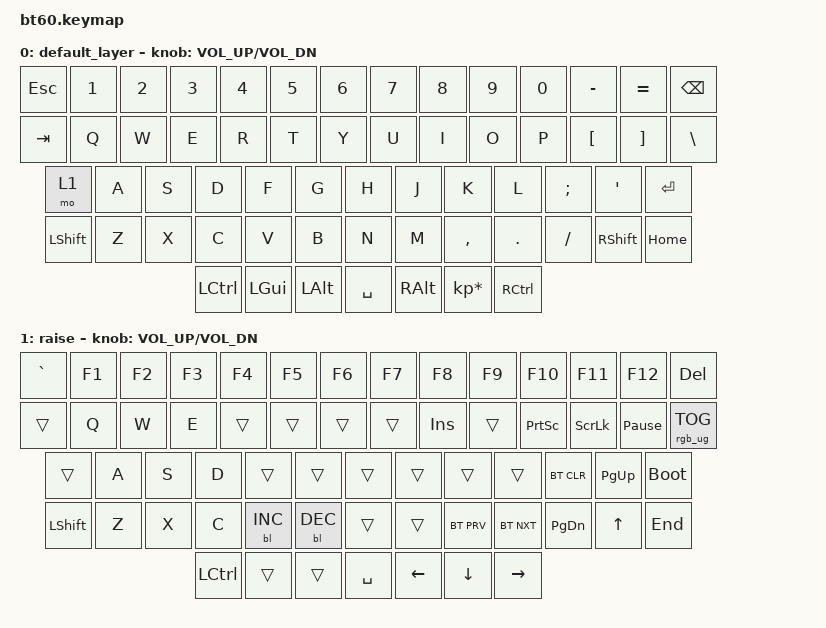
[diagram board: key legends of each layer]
#include <behaviors.dtsi>
#include <dt-bindings/zmk/keys.h>
#include <dt-bindings/zmk/rgb.h>
#include <dt-bindings/zmk/bt.h>
#include <dt-bindings/zmk/backlight.h>

/ {
    keymap {
        compatible = "zmk,keymap";

        default_layer {
            // ------------------------------------------------------------------------------------------
            // |  `  |  1  |  2  |  3  |  4  |  5  |  6  |  7  |  8  |  9  |  0  |  -  |  =  |   BKSP
            // | TAB  |  Q  |  W  |  E  |  R  |  T  |  Y  |  U  |  I  |  O  |  P  |  [  |  ]  |   |
            // | CAPS  |  A  |  S  |  D  |  F  |  G  |  H  |  J  |  K  |  L  |  ;  |  '  |     ENTER
            // |  SHIFT    |  Z  |  X  |  C  |  V  |  B  |  N  |  M  |  ,  |  .  | /   |  SHIFT  | HOME
            // |  CTL  |  WIN  |  ALT  |            SPACE               | ALT | 1    |  MENU    |  CTRL
            // ------------------------------------------------------------------------------------------

            bindings = <
   &kp ESC     &kp N1    &kp N2    &kp N3     &kp N4    &kp N5           &kp N6  &kp N7     &kp N8   &kp N9    &kp N0  &kp MINUS  &kp EQUAL  &kp BSPC
   &kp TAB      &kp Q     &kp W     &kp E      &kp R     &kp T            &kp Y   &kp U      &kp I    &kp O     &kp P   &kp LBKT   &kp RBKT  &kp BSLH
     &mo 1      &kp A     &kp S     &kp D      &kp F     &kp G            &kp H   &kp J      &kp K    &kp L  &kp SEMI    &kp SQT    &kp RET
 &kp LSHFT      &kp Z     &kp X     &kp C      &kp V     &kp B            &kp N   &kp M  &kp COMMA  &kp DOT  &kp FSLH  &kp RSHFT   &kp HOME
            &kp LCTRL  &kp LGUI  &kp LALT  &kp SPACE  &kp RALT  &kp KP_ASTERISK          &kp RCTRL
            >;

            sensor-bindings = <&inc_dec_kp C_VOL_UP C_VOL_DN>;
        };

        raise {
            bindings = <
 &kp GRAVE     &kp F1  &kp F2  &kp F3      &kp F4          &kp F5          &kp F6  &kp F7           &kp F8      &kp F9     &kp F10       &kp F11          &kp F12          &kp DEL
    &trans      &kp Q   &kp W   &kp E      &trans          &trans          &trans  &trans          &kp INS      &trans   &kp PSCRN      &kp SLCK  &kp PAUSE_BREAK  &rgb_ug RGB_TOG
    &trans      &kp A   &kp S   &kp D      &trans          &trans          &trans  &trans           &trans      &trans  &bt BT_CLR     &kp PG_UP      &bootloader
 &kp LSHFT      &kp Z   &kp X   &kp C  &bl BL_INC      &bl BL_DEC          &trans  &trans       &bt BT_PRV  &bt BT_NXT   &kp PG_DN  &kp UP_ARROW          &kp END
            &kp LCTRL  &trans  &trans   &kp SPACE  &kp LEFT_ARROW  &kp DOWN_ARROW          &kp RIGHT_ARROW
            >;

            sensor-bindings = <&inc_dec_kp C_VOL_UP C_VOL_DN>;
        };
    };
};
